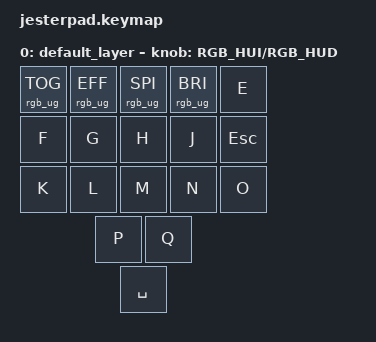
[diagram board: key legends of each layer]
#include <behaviors.dtsi>
#include <dt-bindings/zmk/keys.h>
#include <dt-bindings/zmk/rgb.h>

/ {
    keymap {
        compatible = "zmk,keymap";
        default_layer {
            bindings = <
                // Row 1 (positions 0-4)
                &rgb_ug RGB_TOG &rgb_ug RGB_EFF &rgb_ug RGB_SPI &rgb_ug RGB_BRI &kp E
                // Row 2 (positions 5-9)
                &kp F &kp G &kp H &kp J &kp ESC
                // Row 3 (positions 10-14)
                &kp K &kp L &kp M &kp N &kp O
                // Row 4 (positions 15-16) - only 2 switches!
                &kp P &kp Q
                // Encoder button (position 17 via composite kscan)
                &kp SPACE
            >;

            sensor-bindings = <&inc_dec_kp RGB_HUI RGB_HUD>;
        };
    };
};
